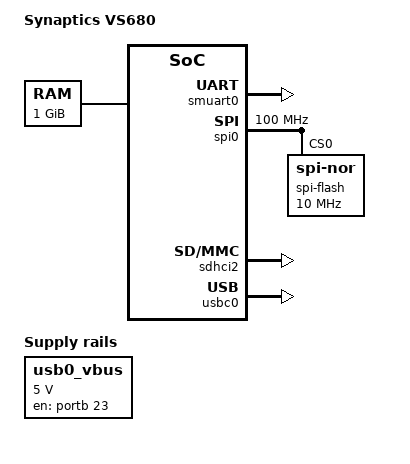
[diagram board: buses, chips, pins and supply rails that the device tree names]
/* SPDX-License-Identifier: GPL-2.0+ */
/*
 * Copyright (C) 2019 Synaptics Incorporated
 *
 * Author: Shaojun Feng <Shaojun.Feng@synaptics.com>
 *
 */

/dts-v1/;

#include "vs680.dtsi"
#include "include/dt-bindings/gpio/gpio.h"

/ {
	model = "Synaptics VS680";
	compatible = "Synaptics,vs680", "Synaptics,asserial";

	memory {
		device_type = "memory";
		reg = <0 0 0 0x40000000>;
	};

	chosen {
                stdout-path = &usbc0;
        };

	config {
		bootcmd = "runscript usbs u-boot-auto-cmd.txt;";
		bootdelay = <0>;
	};

	regulators {
		compatible = "simple-bus";
		#address-cells = <1>;
		#size-cells = <0>;

		usb0_vbus: regulator@0 {
			compatible = "regulator-fixed";
			regulator-name = "usb0_vbus";
			regulator-min-microvolt = <5000000>;
			regulator-max-microvolt = <5000000>;
			gpio = <&portb 23 GPIO_ACTIVE_HIGH>;
			enable-active-high;
		};
	};
};

&sysmgr_pinctrl {
	gmac0_pmux: gmac0-pmux {
		groups = "SM_SPI2_SS1n";
		function = "gpio";
	};
};

&pinctrl {
        emmc_pmux: emmc-pmux {
                groups = "NAND_IO0", "NAND_IO1", "NAND_IO2", "NAND_IO3", "NAND_IO4", "NAND_IO5", "ND_IO6", "NAND_IO7", "NAND_ALE", "NAND_CLE", "NAND_WPn";
                function = "emmc";
        };

	usb_vbus_pmux: usb_vbus_pmux {
		groups = "USB2_DRV_VBUS";
		function = "gpio";
	};
};

&CPU_SLEEP_0 {
	status = "disabled";
};

&smuart0 {
	status = "okay";
};

&spi0 {
	status = "okay";
	max-write-size = <128>;
	clock-frequency = <100000000>;
	spi-flash@0 {
		#address-cells = <1>;
		#size-cells = <1>;
		compatible = "jedec,spi-nor";
		reg = <0>;
		memory-map = <0x0 0xf0000000 0x0 0x4000000>;
		spi-max-frequency = <10000000>;
        };
};

&phy0 {
	reg = <0>;
};

&gmac0 {
	status = "disabled";
	max-speed = <100>;
	pinctrl-names = "default";
	pinctrl-0 = <&gmac0_pmux>;
	phy-handle = <&phy0>;
	snps,reset-active-low;
	snps,reset-delays-us = <0 10000 0>;
};

&sdhci2 {
	status = "okay";
	max-frequency = <50000000>;
	cap-mmc-highspeed;
	1_8v-signalling;
};

&usb0 {
	pinctrl-names = "default";
	pinctrl-0 = <&usb_vbus_pmux>;
	vbus-supply = <&usb0_vbus>;
	status = "disabled";
};

&usbc0 {
	status = "okay";
};
